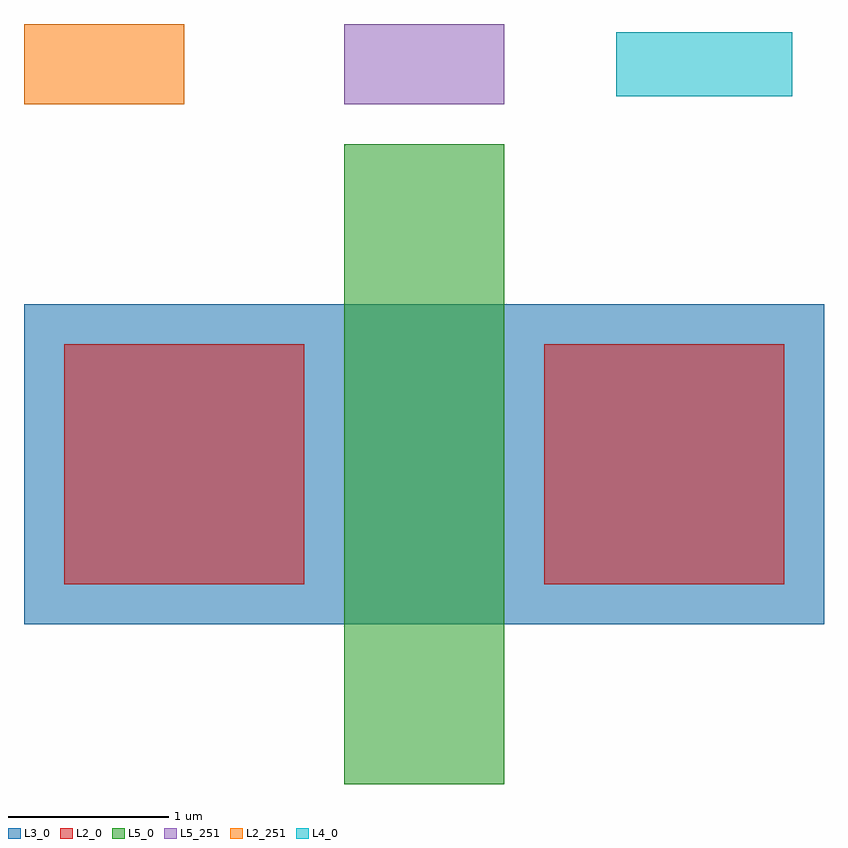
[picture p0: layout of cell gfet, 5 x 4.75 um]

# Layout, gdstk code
import gdstk
lib = gdstk.Library(unit=1e-6, precision=5e-10)
def R(c, l, rs):  # rectangles x0, y0, x1, y1
    for r in rs: c.add(gdstk.rectangle(r[:2], r[2:], *l))
L2_0 = (2, 0)
L2_251 = (2, 251)
L3_0 = (3, 0)
L4_0 = (4, 0)
L5_0 = (5, 0)
L5_251 = (5, 251)

gfet = lib.new_cell('gfet')
R(gfet, L2_0, [(1.25,2.25,2.75,3.75), (4.25,2.25,5.75,3.75), (1.5,2.5,2.5,3.5), (4.5,2.5,5.5,3.5)])
R(gfet, L2_251, [(1,5.25,2,5.75)])
R(gfet, L3_0, [(1,2,6,4)])
R(gfet, L4_0, [(4.7,5.3,5.8,5.7)])
R(gfet, L5_0, [(3,1,4,5), (3,4.25,4,5)])
R(gfet, L5_251, [(3,5.25,4,5.75)])

lib.write_gds('gfet.gds')
